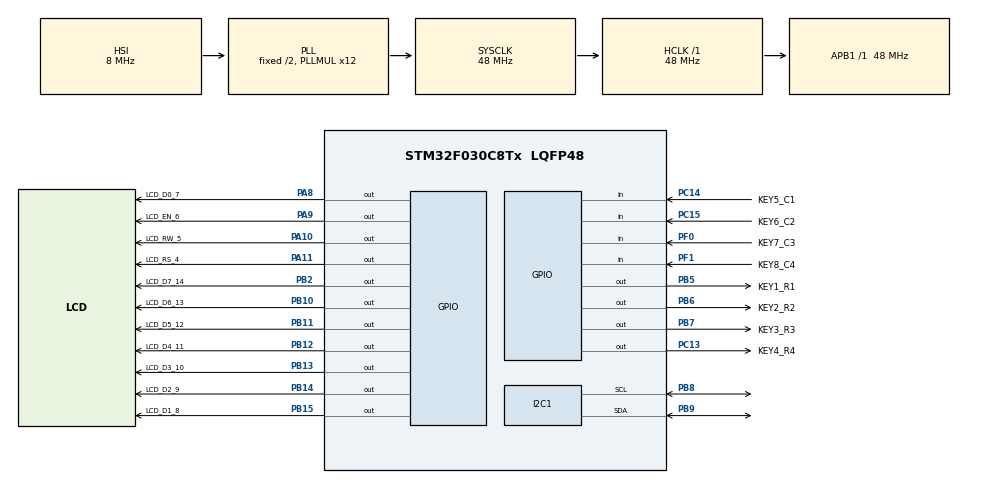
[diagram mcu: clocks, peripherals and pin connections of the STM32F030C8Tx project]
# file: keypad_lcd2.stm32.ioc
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I2C1.Timing=0x00201D2B
Mcu.Family=STM32F0
Mcu.Name=STM32F030C8Tx
Mcu.Package=LQFP48
PA10.GPIO_Label=LCD_RW_5
PA10.Signal=GPIO_Output
PA11.GPIO_Label=LCD_RS_4
PA11.Signal=GPIO_Output
PA8.GPIO_Label=LCD_D0_7
PA8.Signal=GPIO_Output
PA9.GPIO_Label=LCD_EN_6
PA9.Signal=GPIO_Output
PB10.GPIO_Label=LCD_D6_13
PB10.Signal=GPIO_Output
PB11.GPIO_Label=LCD_D5_12
PB11.Signal=GPIO_Output
PB12.GPIO_Label=LCD_D4_11
PB12.Signal=GPIO_Output
PB13.GPIO_Label=LCD_D3_10
PB13.Signal=GPIO_Output
PB14.GPIO_Label=LCD_D2_9
PB14.Signal=GPIO_Output
PB15.GPIO_Label=LCD_D1_8
PB15.Signal=GPIO_Output
PB2.GPIO_Label=LCD_D7_14
PB2.Signal=GPIO_Output
PB5.GPIO_Label=KEY1_R1
PB5.Signal=GPIO_Output
PB6.GPIO_Label=KEY2_R2
PB6.Signal=GPIO_Output
PB7.GPIO_Label=KEY3_R3
PB7.Signal=GPIO_Output
PB8.Mode=I2C
PB8.Signal=I2C1_SCL
PB9.Mode=I2C
PB9.Signal=I2C1_SDA
PC13.GPIO_Label=KEY4_R4
PC13.Signal=GPIO_Output
PC14-OSC32_IN.GPIO_Label=KEY5_C1
PC14-OSC32_IN.Signal=GPIO_Input
PC15-OSC32_OUT.GPIO_Label=KEY6_C2
PC15-OSC32_OUT.Signal=GPIO_Input
PF0-OSC_IN.GPIO_Label=KEY7_C3
PF0-OSC_IN.Signal=GPIO_Input
PF1-OSC_OUT.GPIO_Label=KEY8_C4
PF1-OSC_OUT.Signal=GPIO_Input
ProjectManager.HeapSize=0x200
ProjectManager.StackSize=0x400
ProjectManager.TargetToolchain=STM32CubeIDE
RCC.AHBFreq_Value=48000000
RCC.APB1Freq_Value=48000000
RCC.APB1TimFreq_Value=48000000
RCC.HCLKFreq_Value=48000000
RCC.PLLMUL=RCC_PLL_MUL12
RCC.SYSCLKFreq_VALUE=48000000
RCC.SYSCLKSource=RCC_SYSCLKSOURCE_PLLCLK
board=custom

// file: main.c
/* USER CODE BEGIN Header */
/**
  ******************************************************************************
  * @file           : main.c
  * @brief          : Main program body
  ******************************************************************************
  * @attention
  *
  * Copyright (c) 2025 STMicroelectronics.
  * All rights reserved.
  *
  * This software is licensed under terms that can be found in the LICENSE file
  * in the root directory of this software component.
  * If no LICENSE file comes with this software, it is provided AS-IS.
  *
  ******************************************************************************
  */
/* USER CODE END Header */
#include "main.h"

/* USER CODE BEGIN Includes */
#define MCP7940M_ADDRESS		(0x6f<<1)   ///0x6f 7bit slave address ,1bit=Read
void LCD_Send_8bit(uint8_t data)
{
    // D0
    if ((data & 0x01) == 0x01)
    {
        HAL_GPIO_WritePin(LCD_D0_7_GPIO_Port, LCD_D0_7_Pin, GPIO_PIN_SET);
    }
    else
    {
        HAL_GPIO_WritePin(LCD_D0_7_GPIO_Port, LCD_D0_7_Pin, GPIO_PIN_RESET);
    }

    // D1
    if ((data & 0x02) == 0x02)
    {
        HAL_GPIO_WritePin(LCD_D1_8_GPIO_Port, LCD_D1_8_Pin, GPIO_PIN_SET);
    }
    else
    {
        HAL_GPIO_WritePin(LCD_D1_8_GPIO_Port, LCD_D1_8_Pin, GPIO_PIN_RESET);
    }

    // D2
    if ((data & 0x04) == 0x04)
    {
        HAL_GPIO_WritePin(LCD_D2_9_GPIO_Port, LCD_D2_9_Pin, GPIO_PIN_SET);
    }
    else
    {
        HAL_GPIO_WritePin(LCD_D2_9_GPIO_Port, LCD_D2_9_Pin, GPIO_PIN_RESET);
    }

    // D3
    if ((data & 0x08) == 0x08)
    {
        HAL_GPIO_WritePin(LCD_D3_10_GPIO_Port, LCD_D3_10_Pin, GPIO_PIN_SET);
    }
    else
    {
        HAL_GPIO_WritePin(LCD_D3_10_GPIO_Port, LCD_D3_10_Pin, GPIO_PIN_RESET);
    }

    // D4
    if ((data & 0x10) == 0x10)
    {
        HAL_GPIO_WritePin(LCD_D4_11_GPIO_Port, LCD_D4_11_Pin, GPIO_PIN_SET);
    }
    else
    {
        HAL_GPIO_WritePin(LCD_D4_11_GPIO_Port, LCD_D4_11_Pin, GPIO_PIN_RESET);
    }

    // D5
    if ((data & 0x20) == 0x20)
    {
        HAL_GPIO_WritePin(LCD_D5_12_GPIO_Port, LCD_D5_12_Pin, GPIO_PIN_SET);
    }
    else
    {
        HAL_GPIO_WritePin(LCD_D5_12_GPIO_Port, LCD_D5_12_Pin, GPIO_PIN_RESET);
    }

    // D6
    if ((data & 0x40) == 0x40)
    {
        HAL_GPIO_WritePin(LCD_D6_13_GPIO_Port, LCD_D6_13_Pin, GPIO_PIN_SET);
    }
    else
    {
        HAL_GPIO_WritePin(LCD_D6_13_GPIO_Port, LCD_D6_13_Pin, GPIO_PIN_RESET);
    }

    // D7
    if ((data & 0x80) == 0x80)
    {
        HAL_GPIO_WritePin(LCD_D7_14_GPIO_Port, LCD_D7_14_Pin, GPIO_PIN_SET);
    }
    else
    {
        HAL_GPIO_WritePin(LCD_D7_14_GPIO_Port, LCD_D7_14_Pin, GPIO_PIN_RESET);
    }
}
void LCD_Send_Command(uint8_t cmd)
{
	 HAL_GPIO_WritePin(LCD_RS_4_GPIO_Port,LCD_RS_4_Pin,GPIO_PIN_RESET);
	 HAL_GPIO_WritePin(LCD_RW_5_GPIO_Port,LCD_RW_5_Pin,GPIO_PIN_RESET);
	 LCD_Send_8bit(cmd);
	 HAL_GPIO_WritePin(LCD_EN_6_GPIO_Port,LCD_EN_6_Pin,GPIO_PIN_SET);
     HAL_Delay(2);
     HAL_GPIO_WritePin(LCD_EN_6_GPIO_Port,LCD_EN_6_Pin,GPIO_PIN_RESET);
}
void LCD_Init(void)
{
	 HAL_Delay(50);
	 LCD_Send_Command(0x38);
	 HAL_Delay(2);
	 LCD_Send_Command(0x38);
	 HAL_Delay(2);
	 LCD_Send_Command(0x0C);
	 HAL_Delay(2);
	 LCD_Send_Command(0x01);
	 HAL_Delay(2);
	 LCD_Send_Command(0x06);
	 HAL_Delay(2);
}
//function for printing any digit
void LCD_Print_Data(uint8_t data)
{
	 HAL_GPIO_WritePin(LCD_RS_4_GPIO_Port,LCD_RS_4_Pin,GPIO_PIN_SET);
	 HAL_GPIO_WritePin(LCD_RW_5_GPIO_Port,LCD_RW_5_Pin,GPIO_PIN_RESET);
	 LCD_Send_8bit(data);
	 HAL_GPIO_WritePin(LCD_EN_6_GPIO_Port,LCD_EN_6_Pin,GPIO_PIN_SET);
	 HAL_Delay(2);
	 HAL_GPIO_WritePin(LCD_EN_6_GPIO_Port,LCD_EN_6_Pin,GPIO_PIN_RESET);
}
//function for printing string
void Print_LCD_String(uint8_t *ptr)
{
	while(*ptr)
	{
		LCD_Print_Data(*ptr);
		ptr++;
    }
}
//function for printing of keypads
uint8_t keypressed=0;
void keycheck(void)
{
    keypressed = 0xFF;
    // LCD_Send_Command(0x80 | 0x41);

    // --- Row 1 ---
    HAL_GPIO_WritePin(KEY1_R1_GPIO_Port, KEY1_R1_Pin, GPIO_PIN_RESET);
    HAL_GPIO_WritePin(KEY2_R2_GPIO_Port, KEY2_R2_Pin, GPIO_PIN_SET);
    HAL_GPIO_WritePin(KEY3_R3_GPIO_Port, KEY3_R3_Pin, GPIO_PIN_SET);
    HAL_GPIO_WritePin(KEY4_R4_GPIO_Port, KEY4_R4_Pin, GPIO_PIN_SET);

    if (HAL_GPIO_ReadPin(KEY5_C1_GPIO_Port, KEY5_C1_Pin) == GPIO_PIN_RESET)
    {
        keypressed = '1';
    }
    else if (HAL_GPIO_ReadPin(KEY6_C2_GPIO_Port, KEY6_C2_Pin) == GPIO_PIN_RESET)
    {
        keypressed = '2';
    }
    else if (HAL_GPIO_ReadPin(KEY7_C3_GPIO_Port, KEY7_C3_Pin) == GPIO_PIN_RESET)
    {
        keypressed = '3';
    }
    else if (HAL_GPIO_ReadPin(KEY8_C4_GPIO_Port, KEY8_C4_Pin) == GPIO_PIN_RESET)
    {
        keypressed = 'A';
    }

    // --- Row 2 ---
    HAL_GPIO_WritePin(KEY1_R1_GPIO_Port, KEY1_R1_Pin, GPIO_PIN_SET);
    HAL_GPIO_WritePin(KEY2_R2_GPIO_Port, KEY2_R2_Pin, GPIO_PIN_RESET);
    HAL_GPIO_WritePin(KEY3_R3_GPIO_Port, KEY3_R3_Pin, GPIO_PIN_SET);
    HAL_GPIO_WritePin(KEY4_R4_GPIO_Port, KEY4_R4_Pin, GPIO_PIN_SET);

    if (HAL_GPIO_ReadPin(KEY5_C1_GPIO_Port, KEY5_C1_Pin) == GPIO_PIN_RESET)
    {
        keypressed = '4';
    }
    else if (HAL_GPIO_ReadPin(KEY6_C2_GPIO_Port, KEY6_C2_Pin) == GPIO_PIN_RESET)
    {
        keypressed = '5';
    }
    else if (HAL_GPIO_ReadPin(KEY7_C3_GPIO_Port, KEY7_C3_Pin) == GPIO_PIN_RESET)
    {
        keypressed = '6';
    }
    else if (HAL_GPIO_ReadPin(KEY8_C4_GPIO_Port, KEY8_C4_Pin) == GPIO_PIN_RESET)
    {
        keypressed = 'B';
    }

    // --- Row 3 ---
    HAL_GPIO_WritePin(KEY1_R1_GPIO_Port, KEY1_R1_Pin, GPIO_PIN_SET);
    HAL_GPIO_WritePin(KEY2_R2_GPIO_Port, KEY2_R2_Pin, GPIO_PIN_SET);
    HAL_GPIO_WritePin(KEY3_R3_GPIO_Port, KEY3_R3_Pin, GPIO_PIN_RESET);
    HAL_GPIO_WritePin(KEY4_R4_GPIO_Port, KEY4_R4_Pin, GPIO_PIN_SET);

    if (HAL_GPIO_ReadPin(KEY5_C1_GPIO_Port, KEY5_C1_Pin) == GPIO_PIN_RESET)
    {
        keypressed = '7';
    }
    else if (HAL_GPIO_ReadPin(KEY6_C2_GPIO_Port, KEY6_C2_Pin) == GPIO_PIN_RESET)
    {
        keypressed = '8';
    }
    else if (HAL_GPIO_ReadPin(KEY7_C3_GPIO_Port, KEY7_C3_Pin) == GPIO_PIN_RESET)
    {
        keypressed = '9';
    }
    else if (HAL_GPIO_ReadPin(KEY8_C4_GPIO_Port, KEY8_C4_Pin) == GPIO_PIN_RESET)
    {
        keypressed = 'C';
    }
    // --- Row 4 ---
    HAL_GPIO_WritePin(KEY1_R1_GPIO_Port, KEY1_R1_Pin, GPIO_PIN_SET);
    HAL_GPIO_WritePin(KEY2_R2_GPIO_Port, KEY2_R2_Pin, GPIO_PIN_SET);
    HAL_GPIO_WritePin(KEY3_R3_GPIO_Port, KEY3_R3_Pin, GPIO_PIN_SET);
    HAL_GPIO_WritePin(KEY4_R4_GPIO_Port, KEY4_R4_Pin, GPIO_PIN_RESET);

    if (HAL_GPIO_ReadPin(KEY5_C1_GPIO_Port, KEY5_C1_Pin) == GPIO_PIN_RESET)
    {
        keypressed = '*';
    }
    else if (HAL_GPIO_ReadPin(KEY6_C2_GPIO_Port, KEY6_C2_Pin) == GPIO_PIN_RESET)
    {
        keypressed = '0';
    }
    else if (HAL_GPIO_ReadPin(KEY7_C3_GPIO_Port, KEY7_C3_Pin) == GPIO_PIN_RESET)
    {
        keypressed = '#';
    }
    else if (HAL_GPIO_ReadPin(KEY8_C4_GPIO_Port, KEY8_C4_Pin) == GPIO_PIN_RESET)
    {
        keypressed = 'D';
    }
}
uint8_t key_press_count=0;
uint8_t user_input[3];
uint8_t Index=0;
uint8_t one_time_enter=1;
uint8_t edit_count=0;
uint8_t current_field=0;
uint8_t set_mode=0;
uint8_t min;
uint8_t sec;
uint8_t hour;
void key_action(void)
{
    if (keypressed != 0xFF)
    {
        if (one_time_enter == 1)
        {
        	one_time_enter = 0;
            LCD_Send_Command(0xC0 + Index);
            user_input[Index] = keypressed;
            Index++;
            LCD_Send_Command(0x80|0x43);
            LCD_Print_Data(keypressed);
		}
				//            if (Index >= 3)
				//            {
				//                Index = 0;
				//                if (user_input[0] == '1' && user_input[1] == '2' && user_input[2] == '3')
				//                {
				//                    Print_LCD_String((uint8_t *)" : RIGHT");
				//                }
				//                else
				//                {
				//                    Print_LCD_String((uint8_t *)" : WRONG");
				//                }
				//                // LCD_Send_Command((0x80 | 0x40) >> 0x01);
				//                // LCD_Print_Data(keypressed);
				//            }
        else
        {
        	one_time_enter = 1;
        }
    }
}

/* USER CODE END Includes */

I2C_HandleTypeDef hi2c1;

/* USER CODE BEGIN PV */

//uint8_t seconds;
uint8_t weekday;
uint8_t date;
uint8_t month;
uint8_t year;
uint8_t decToBCD(uint8_t dec)
{
	uint8_t high,low,bcd;
	low=dec%10;
	dec=dec/10;
	high=dec%10;
	bcd=high;
	bcd=bcd<<4;
	bcd=bcd|low;
	return bcd;
//	return ((val/10)<<4) + (val%10);
}
uint8_t BCDToDec(uint8_t bcd)
{
	uint8_t high,low,dec;
	low=bcd & 0x0f;
	bcd=bcd>>4;
	high=bcd;
	dec=(high*10)+low;
	return dec;
//	return ((bcd>>4)*10)+(bcd & 0x0f);
}
void print_lcd_bcd(uint8_t bcd)
{
	LCD_Print_Data((bcd>>4)+0x30);
	LCD_Print_Data((bcd & 0x0f)+0x30);
}
void print_lcd_dec(uint8_t dec)
{
	uint8_t ones,tens;
	//uint8_t hund;
	ones=dec%10;//a=123,ones=3
	dec=dec/10;//a=12
	tens=dec%10;//a=12,tens=2
	dec=dec/10;//a=1;
//	hund=dec%10;
//	LCD_Print_Data(hund+0x30);
	LCD_Print_Data(tens+0x30);
	LCD_Print_Data(ones+0x30);
}
void check_RTC(void)
{
  uint8_t seconds;
  HAL_I2C_Mem_Read(&hi2c1,MCP7940M_ADDRESS,0x00,I2C_MEMADD_SIZE_8BIT,&seconds,1,100);
  if((seconds & 0x80 )==0x80)
  {
	  LCD_Send_Command(0x80);
	  Print_LCD_String((uint8_t *)"Date:");
  }
  else
  {
	  seconds=(seconds|0x80);
	  HAL_I2C_Mem_Write(&hi2c1,MCP7940M_ADDRESS,0x00,I2C_MEMADD_SIZE_8BIT,&seconds,1,100);
	  HAL_Delay(100);
	  LCD_Send_Command(0x80);
	  Print_LCD_String((uint8_t *)"clock started");
	  HAL_Delay(1000);
  }
}
void check_weekday_rtc(void)
{
	uint8_t weekdays;
	HAL_I2C_Mem_Read(&hi2c1,MCP7940M_ADDRESS,0x03,I2C_MEMADD_SIZE_8BIT,&weekdays,1,100);
	if((weekdays & 0x20)==0x20)
	{
		LCD_Send_Command(0x80);
	    Print_LCD_String((uint8_t *)"weekdays ok");
	}
	else if((weekdays & 0x20)!=0x20)
	{
		weekdays=(weekdays|0x20);
		HAL_I2C_Mem_Write(&hi2c1,MCP7940M_ADDRESS,0x03,I2C_MEMADD_SIZE_8BIT,&weekdays,1,100);
		LCD_Send_Command(0x80);
	    Print_LCD_String((uint8_t *)"started wk clk");
	    HAL_Delay(1000);
	}
}
void Manual_Time_Update(void)
{
    sec++;
    //resettuing sec
    if (sec >= 60)
    {
        sec = 0;
        min++;
    }
   // min++;
    if (min >= 60)
    {
    	min = 0;
		hour++;
    }
    if(hour>=24)
    {
    	hour=0;
    }
    LCD_Send_Command(0x80);
    Print_LCD_String((uint8_t *)"TIME: ");
    LCD_Send_Command(0xc0);
    print_lcd_dec(hour);
    LCD_Print_Data(':');
    print_lcd_dec(min);
    LCD_Print_Data(':');
    //LCD_Send_Command(0xc2);
//   LCD_Send_Command(0xc7);
    print_lcd_dec(sec);
	if(hour<12)
	{
	  LCD_Send_Command(0x80|0x49);
	  Print_LCD_String((uint8_t *)"AM");
	}
	else
	{
	  LCD_Send_Command(0x80|0x49);
	  Print_LCD_String((uint8_t *)"PM");
	}
}
void Read_Seconds()
{
	uint8_t seconds_2;
	HAL_I2C_Mem_Read(&hi2c1,MCP7940M_ADDRESS,0x00,I2C_MEMADD_SIZE_8BIT,&seconds_2,1,100);
	seconds_2=seconds_2 & 0x7f;
	sec=BCDToDec(seconds_2);
	LCD_Send_Command(0x80|0x46);
	print_lcd_dec(sec);
}
void Read_minutes()
{
	uint8_t min_seg=0;
	HAL_I2C_Mem_Read(&hi2c1,MCP7940M_ADDRESS,0x01,I2C_MEMADD_SIZE_8BIT,&min_seg,1,100);
	min_seg=min_seg & 0x7f;
	min=BCDToDec(min_seg);
	//key_action();
	LCD_Send_Command(0x80|0x43);
	//LCD_Print_Data(keypressed);
	print_lcd_dec(min);
	LCD_Print_Data(':');
}
void Read_hour()
{
	uint8_t hour_seg=0;
	HAL_I2C_Mem_Read(&hi2c1,MCP7940M_ADDRESS,0x02,I2C_MEMADD_SIZE_8BIT,&hour_seg,1,100);
	if((hour_seg & 0x40) == 0x40)//bit5<-pm<-1
	{
		LCD_Send_Command(0x80|0x49);
		Print_LCD_String((uint8_t *)"PM");
	}
	else //bit5<-am<-0
	{
		LCD_Send_Command(0x80|0x49);
		Print_LCD_String((uint8_t *)"AM");
	}
	hour_seg=hour_seg & 0x1f;
	hour=BCDToDec(hour_seg);
	LCD_Send_Command(0xc0);
	print_lcd_dec(hour);
	LCD_Print_Data(':');
}
void Read_weekday()
{
	uint8_t week_seg=0;
	HAL_I2C_Mem_Read(&hi2c1,MCP7940M_ADDRESS,0x03,I2C_MEMADD_SIZE_8BIT,&week_seg,1,100);
	week_seg=week_seg & 0x07;//keeps only weekdays bit 0-2
	//week_seg=week_seg|0x20;
	if(week_seg==0x01)
	{
		LCD_Send_Command(0x80|0x4d);
		Print_LCD_String((uint8_t *)"MON");
	}
	else if(week_seg==0x02)
	{
		LCD_Send_Command(0x80|0x4d);
		Print_LCD_String((uint8_t *)"TUE");
	}
	else if(week_seg==0x03)
	{
		LCD_Send_Command(0x80|0x4d);
		Print_LCD_String((uint8_t *)"WED");
	}
	else if(week_seg==0x04)
	{
		LCD_Send_Command(0x80|0x4d);
		Print_LCD_String((uint8_t *)"THU");
	}
	else if(week_seg==0x05)
	{
		LCD_Send_Command(0x80|0x4d);
		Print_LCD_String((uint8_t *)"FRI");
	}
	else if(week_seg==0x06)
	{
		LCD_Send_Command(0x80|0x4d);
		Print_LCD_String((uint8_t *)"SAT");
	}
	else if(week_seg==0x07)
	{
		LCD_Send_Command(0x80|0x4d);
		Print_LCD_String((uint8_t *)"SUN");
	}
	weekday=BCDToDec(week_seg);
	//LCD_Send_Command(0xc0);
	print_lcd_dec(weekday);
}
void Read_date()
{
	uint8_t date_seg=0;
	HAL_I2C_Mem_Read(&hi2c1,MCP7940M_ADDRESS,0x04,I2C_MEMADD_SIZE_8BIT,&date_seg,1,100);
	date_seg=date_seg & 0x3f;
	date=BCDToDec(date_seg);
	LCD_Send_Command(0x80|0x05);
	print_lcd_dec(date);
	LCD_Print_Data(':');
}
void Read_month()
{
	uint8_t month_seg=0;

	HAL_I2C_Mem_Read(&hi2c1,MCP7940M_ADDRESS,0x05,I2C_MEMADD_SIZE_8BIT,&month_seg,1,100);
	if(month_seg & 0x20)//bit5<-leap year<-0             checking if ith bit set or not
	{
		LCD_Send_Command(0x80|0x0e);
		Print_LCD_String((uint8_t *)"leap");
	}

	else //bit5<-not a leap year<-1
	{
		LCD_Send_Command(0x80|0x0e);
		Print_LCD_String((uint8_t *)"norm");
	}
	month_seg= month_seg & 0x1f;//removing bit5=1<-leap year
	month=BCDToDec(month_seg);
	LCD_Send_Command(0x80|0x08);
	print_lcd_dec(month);
	LCD_Print_Data(':');
}
void Set_year(void)
{
    uint8_t year_seg = decToBCD(25);  //  2025
    HAL_I2C_Mem_Write(&hi2c1, MCP7940M_ADDRESS, 0x06,I2C_MEMADD_SIZE_8BIT, &year_seg, 1, 100);
}
void Set_month(void)
{
    uint8_t month_seg = decToBCD(11);  //  11
    month_seg=month_seg&0x1f; //removing bit5=1<-leap year
    HAL_I2C_Mem_Write(&hi2c1, MCP7940M_ADDRESS, 0x05,I2C_MEMADD_SIZE_8BIT, &month_seg, 1, 100);
}
void Set_date(void)
{
    uint8_t date_seg = decToBCD(12);  //
    date_seg=date_seg & 0x3f;
    HAL_I2C_Mem_Write(&hi2c1, MCP7940M_ADDRESS, 0x04,I2C_MEMADD_SIZE_8BIT, &date_seg, 1, 100);
}
void Set_weekday(void)
{
	uint8_t week_seg=decToBCD(3);
	week_seg=week_seg & 0x07;
	week_seg=week_seg|0x20;
	HAL_I2C_Mem_Write(&hi2c1,MCP7940M_ADDRESS,0x03,I2C_MEMADD_SIZE_8BIT,&week_seg,1,100);
}
void Read_year()
{
	uint8_t year_seg=0;
	HAL_I2C_Mem_Read(&hi2c1,MCP7940M_ADDRESS,0x06,I2C_MEMADD_SIZE_8BIT,&year_seg,1,100);
	year_seg=year_seg & 0xff;
	year=BCDToDec(year_seg);
	LCD_Send_Command(0x80|0x0b);
	print_lcd_dec(year);
}
/* USER CODE END PV */

void SystemClock_Config(void);
static void MX_GPIO_Init(void);
static void MX_I2C1_Init(void);

/* USER CODE BEGIN 0 */
uint8_t RTC_Buffer[22];
/* USER CODE END 0 */

int main(void)
{

  /* MCU Configuration--------------------------------------------------------*/

  /* Reset of all peripherals, Initializes the Flash interface and the Systick. */
  HAL_Init();

  /* Configure the system clock */
  SystemClock_Config();

  /* Initialize all configured peripherals */
  MX_GPIO_Init();
  MX_I2C1_Init();
  /* USER CODE BEGIN 2 */
  LCD_Init();
  /* USER CODE END 2 */

  /* Infinite loop */
  /* USER CODE BEGIN WHILE */
//  check_RTC();
//  Read_Seconds();
//  LCD_Send_Command(0x80);
//  Print_LCD_String((uint8_t *)"seconds:");
  check_RTC();
 // check_weekday_rtc();
  Set_year();
  Set_month();
  Set_date();
  Set_weekday();
  while (1)
  {
	  HAL_Delay(1000);
	  key_action();
	  keycheck();
	  Read_year();
	  Read_month();
	  Read_date();
	  Read_weekday();
	  Read_hour();
	  Read_minutes();
	  Read_Seconds();
	  key_action();
	}
  }
    //HAL_Delay(1000);
    /* USER CODE END WHILE */

void SystemClock_Config(void)
{
  RCC_OscInitTypeDef RCC_OscInitStruct = {0};
  RCC_ClkInitTypeDef RCC_ClkInitStruct = {0};
  RCC_PeriphCLKInitTypeDef PeriphClkInit = {0};

  /** Initializes the RCC Oscillators according to the specified parameters
  * in the RCC_OscInitTypeDef structure.
  */
  RCC_OscInitStruct.OscillatorType = RCC_OSCILLATORTYPE_HSI;
  RCC_OscInitStruct.HSIState = RCC_HSI_ON;
  RCC_OscInitStruct.HSICalibrationValue = RCC_HSICALIBRATION_DEFAULT;
  RCC_OscInitStruct.PLL.PLLState = RCC_PLL_ON;
  RCC_OscInitStruct.PLL.PLLSource = RCC_PLLSOURCE_HSI;
  RCC_OscInitStruct.PLL.PLLMUL = RCC_PLL_MUL12;
  RCC_OscInitStruct.PLL.PREDIV = RCC_PREDIV_DIV1;
  if (HAL_RCC_OscConfig(&RCC_OscInitStruct) != HAL_OK)
  {
    Error_Handler();
  }

  /** Initializes the CPU, AHB and APB buses clocks
  */
  RCC_ClkInitStruct.ClockType = RCC_CLOCKTYPE_HCLK|RCC_CLOCKTYPE_SYSCLK
                              |RCC_CLOCKTYPE_PCLK1;
  RCC_ClkInitStruct.SYSCLKSource = RCC_SYSCLKSOURCE_PLLCLK;
  RCC_ClkInitStruct.AHBCLKDivider = RCC_SYSCLK_DIV1;
  RCC_ClkInitStruct.APB1CLKDivider = RCC_HCLK_DIV1;

  if (HAL_RCC_ClockConfig(&RCC_ClkInitStruct, FLASH_LATENCY_1) != HAL_OK)
  {
    Error_Handler();
  }
  PeriphClkInit.PeriphClockSelection = RCC_PERIPHCLK_I2C1;
  PeriphClkInit.I2c1ClockSelection = RCC_I2C1CLKSOURCE_HSI;
  if (HAL_RCCEx_PeriphCLKConfig(&PeriphClkInit) != HAL_OK)
  {
    Error_Handler();
  }
}

static void MX_I2C1_Init(void)
{

  hi2c1.Instance = I2C1;
  hi2c1.Init.Timing = 0x00201D2B;
  hi2c1.Init.OwnAddress1 = 0;
  hi2c1.Init.AddressingMode = I2C_ADDRESSINGMODE_7BIT;
  hi2c1.Init.DualAddressMode = I2C_DUALADDRESS_DISABLE;
  hi2c1.Init.OwnAddress2 = 0;
  hi2c1.Init.OwnAddress2Masks = I2C_OA2_NOMASK;
  hi2c1.Init.GeneralCallMode = I2C_GENERALCALL_DISABLE;
  hi2c1.Init.NoStretchMode = I2C_NOSTRETCH_DISABLE;
  if (HAL_I2C_Init(&hi2c1) != HAL_OK)
  {
    Error_Handler();
  }

  /** Configure Analogue filter
  */
  if (HAL_I2CEx_ConfigAnalogFilter(&hi2c1, I2C_ANALOGFILTER_ENABLE) != HAL_OK)
  {
    Error_Handler();
  }

  /** Configure Digital filter
  */
  if (HAL_I2CEx_ConfigDigitalFilter(&hi2c1, 0) != HAL_OK)
  {
    Error_Handler();
  }

}

static void MX_GPIO_Init(void)
{
  GPIO_InitTypeDef GPIO_InitStruct = {0};

  /* GPIO Ports Clock Enable */
  __HAL_RCC_GPIOC_CLK_ENABLE();
  __HAL_RCC_GPIOF_CLK_ENABLE();
  __HAL_RCC_GPIOB_CLK_ENABLE();
  __HAL_RCC_GPIOA_CLK_ENABLE();

  /*Configure GPIO pin Output Level */
  HAL_GPIO_WritePin(KEY4_R4_GPIO_Port, KEY4_R4_Pin, GPIO_PIN_RESET);

  /*Configure GPIO pin Output Level */
  HAL_GPIO_WritePin(GPIOB, LCD_D7_14_Pin|LCD_D6_13_Pin|LCD_D5_12_Pin|LCD_D4_11_Pin
                          |LCD_D3_10_Pin|LCD_D2_9_Pin|LCD_D1_8_Pin|KEY1_R1_Pin
                          |KEY2_R2_Pin|KEY3_R3_Pin, GPIO_PIN_RESET);

  /*Configure GPIO pin Output Level */
  HAL_GPIO_WritePin(GPIOA, LCD_D0_7_Pin|LCD_EN_6_Pin|LCD_RW_5_Pin|LCD_RS_4_Pin, GPIO_PIN_RESET);

  /*Configure GPIO pin : KEY4_R4_Pin */
  GPIO_InitStruct.Pin = KEY4_R4_Pin;
  GPIO_InitStruct.Mode = GPIO_MODE_OUTPUT_PP;
  GPIO_InitStruct.Pull = GPIO_NOPULL;
  GPIO_InitStruct.Speed = GPIO_SPEED_FREQ_LOW;
  HAL_GPIO_Init(KEY4_R4_GPIO_Port, &GPIO_InitStruct);

  /*Configure GPIO pins : KEY5_C1_Pin KEY6_C2_Pin */
  GPIO_InitStruct.Pin = KEY5_C1_Pin|KEY6_C2_Pin;
  GPIO_InitStruct.Mode = GPIO_MODE_INPUT;
  GPIO_InitStruct.Pull = GPIO_NOPULL;
  HAL_GPIO_Init(GPIOC, &GPIO_InitStruct);

  /*Configure GPIO pins : KEY7_C3_Pin KEY8_C4_Pin */
  GPIO_InitStruct.Pin = KEY7_C3_Pin|KEY8_C4_Pin;
  GPIO_InitStruct.Mode = GPIO_MODE_INPUT;
  GPIO_InitStruct.Pull = GPIO_NOPULL;
  HAL_GPIO_Init(GPIOF, &GPIO_InitStruct);

  /*Configure GPIO pins : LCD_D7_14_Pin LCD_D6_13_Pin LCD_D5_12_Pin LCD_D4_11_Pin
                           LCD_D3_10_Pin LCD_D2_9_Pin LCD_D1_8_Pin KEY1_R1_Pin
                           KEY2_R2_Pin KEY3_R3_Pin */
  GPIO_InitStruct.Pin = LCD_D7_14_Pin|LCD_D6_13_Pin|LCD_D5_12_Pin|LCD_D4_11_Pin
                          |LCD_D3_10_Pin|LCD_D2_9_Pin|LCD_D1_8_Pin|KEY1_R1_Pin
                          |KEY2_R2_Pin|KEY3_R3_Pin;
  GPIO_InitStruct.Mode = GPIO_MODE_OUTPUT_PP;
  GPIO_InitStruct.Pull = GPIO_NOPULL;
  GPIO_InitStruct.Speed = GPIO_SPEED_FREQ_LOW;
  HAL_GPIO_Init(GPIOB, &GPIO_InitStruct);

  /*Configure GPIO pins : LCD_D0_7_Pin LCD_EN_6_Pin LCD_RW_5_Pin LCD_RS_4_Pin */
  GPIO_InitStruct.Pin = LCD_D0_7_Pin|LCD_EN_6_Pin|LCD_RW_5_Pin|LCD_RS_4_Pin;
  GPIO_InitStruct.Mode = GPIO_MODE_OUTPUT_PP;
  GPIO_InitStruct.Pull = GPIO_NOPULL;
  GPIO_InitStruct.Speed = GPIO_SPEED_FREQ_LOW;
  HAL_GPIO_Init(GPIOA, &GPIO_InitStruct);

}

void Error_Handler(void)
{
  __disable_irq();
  while (1)
  {
  }
}
//}
